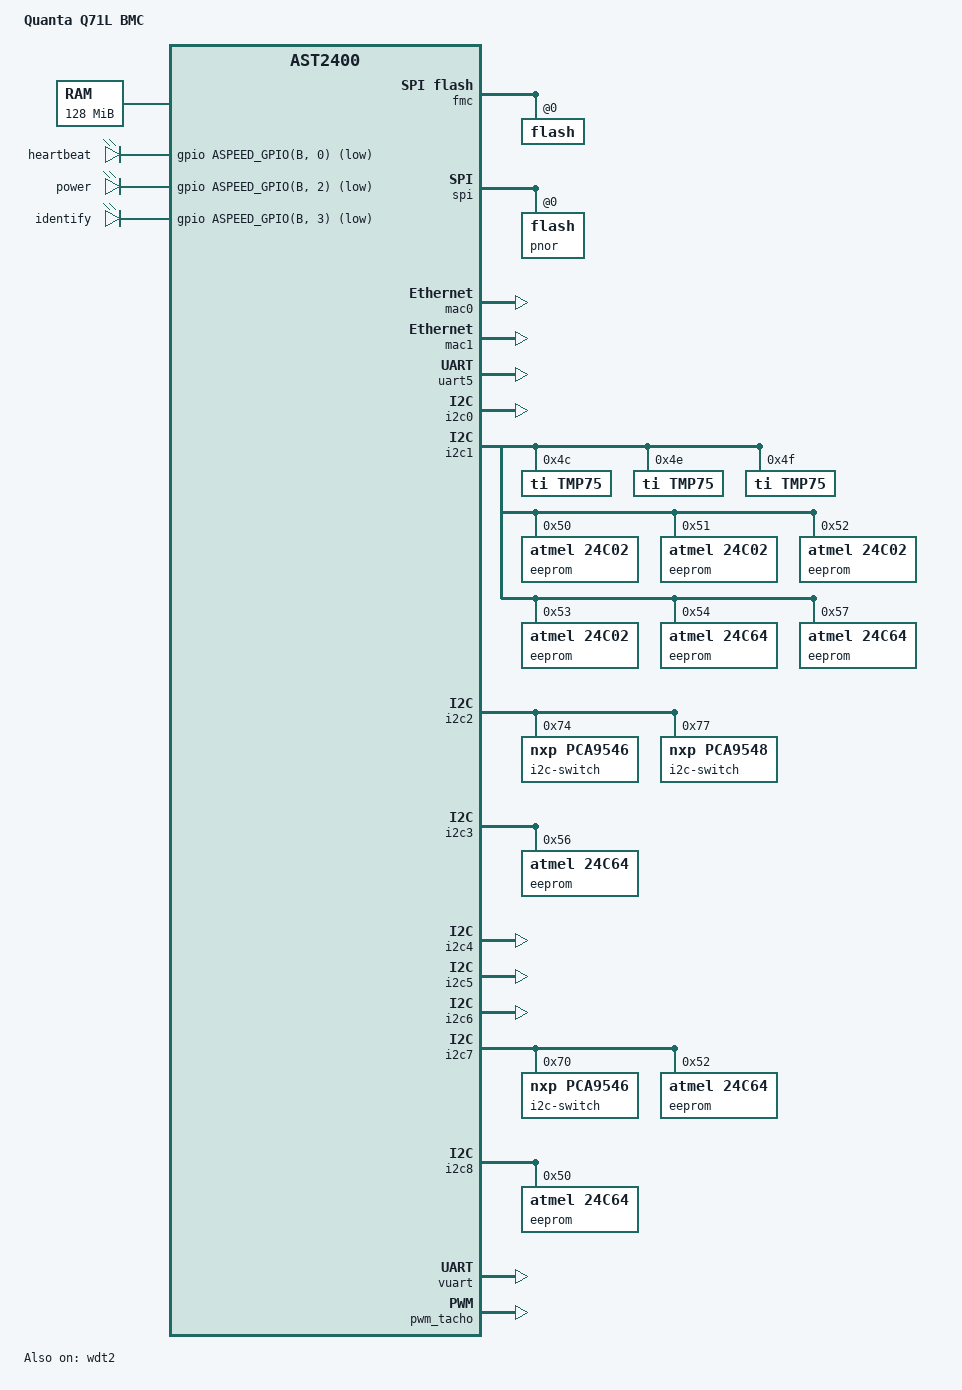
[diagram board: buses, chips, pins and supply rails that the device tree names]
// SPDX-License-Identifier: GPL-2.0
/dts-v1/;

#include "aspeed-g4.dtsi"

/ {
	model = "Quanta Q71L BMC";
	compatible = "quanta,q71l-bmc", "aspeed,ast2400";

	chosen {
		stdout-path = &uart5;
		bootargs = "console=ttyS4,115200 earlyprintk";
	};

	memory {
		reg = <0x40000000 0x8000000>;
	};

	reserved-memory {
		#address-cells = <1>;
		#size-cells = <1>;
		ranges;

		vga_memory: framebuffer@47800000 {
			no-map;
			reg = <0x47800000 0x00800000>; /* 8MB */
		};
	};

	leds {
		compatible = "gpio-leds";

		heartbeat {
			gpios = <&gpio ASPEED_GPIO(B, 0) GPIO_ACTIVE_LOW>;
		};

		power {
			gpios = <&gpio ASPEED_GPIO(B, 2) GPIO_ACTIVE_LOW>;
		};

		identify {
			gpios = <&gpio ASPEED_GPIO(B, 3) GPIO_ACTIVE_LOW>;
		};
	};

};

&fmc {
	status = "okay";
	flash@0 {
		status = "okay";
		m25p,fast-read;
#include "aspeed-bmc-opp-flash-layout.dtsi"
	};
};

&spi {
	status = "okay";
	pinctrl-names = "default";
	pinctrl-0 = <&pinctrl_spi1_default>;

	flash@0 {
		status = "okay";
		m25p,fast-read;
		label = "pnor";
	};
};

&pinctrl {
	pinctrl-names = "default";
	pinctrl-0 = <&pinctrl_vgahs_default &pinctrl_vgavs_default
			&pinctrl_ddcclk_default &pinctrl_ddcdat_default>;
};

&mac0 {
	status = "okay";

	use-ncsi;
	no-hw-checksum;
};

&mac1 {
	status = "okay";

	pinctrl-names = "default";
	pinctrl-0 = <&pinctrl_rgmii2_default &pinctrl_mdio2_default>;
};

&uart5 {
	status = "okay";
};

&i2c0 {
	status = "okay";
};

&i2c1 {
	status = "okay";

	/* temp2 inlet */
	tmp75@4c {
		compatible = "ti,tmp75";
		reg = <0x4c>;
	};

	/* temp3 */
	tmp75@4e {
		compatible = "ti,tmp75";
		reg = <0x4e>;
	};

	/* temp1 */
	tmp75@4f {
		compatible = "ti,tmp75";
		reg = <0x4f>;
	};

	/* Memory Riser 1/5 FRU */
	eeprom@50 {
		compatible = "atmel,24c02";
		reg = <0x50>;
	};

	/* Memory Riser 2/6 FRU */
	eeprom@51 {
		compatible = "atmel,24c02";
		reg = <0x51>;
	};

	/* Memory Riser 3/7 FRU */
	eeprom@52 {
		compatible = "atmel,24c02";
		reg = <0x52>;
	};

	/* Memory Riser 4/8 FRU */
	eeprom@53 {
		compatible = "atmel,24c02";
		reg = <0x53>;
	};

	/* Baseboard FRU */
	eeprom@54 {
		compatible = "atmel,24c64";
		reg = <0x54>;
	};

	/* FP FRU */
	eeprom@57 {
		compatible = "atmel,24c64";
		reg = <0x57>;
	};
};

&i2c2 {
	status = "okay";

	/* 0: PCIe Slot 2,
	 *    Slot 3,
	 *    Slot 6,
	 *    Slot 7
	 */
	i2c-switch@74 {
		compatible = "nxp,pca9546";
		reg = <0x74>;
		#address-cells = <1>;
		#size-cells = <0>;
	};

	/* 0: PCIe Slot 1,
	 *    Slot 4,
	 *    Slot 5,
	 *    Slot 8,
	 *    Slot 9,
	 *    Slot 10,
	 *    SSD 1,
	 *    SSD 2
	 */
	i2c-switch@77 {
		compatible = "nxp,pca9548";
		#address-cells = <1>;
		#size-cells = <0>;
		reg = <0x77>;
	};
};

&i2c3 {
	status = "okay";

	/* BIOS FRU */
	eeprom@56 {
		compatible = "atmel,24c64";
		reg = <0x56>;
	};
};

&i2c4 {
	status = "okay";
};

&i2c5 {
	status = "okay";
};

&i2c6 {
	status = "okay";
};

&i2c7 {
	status = "okay";

	/* 0: PSU4
	 *    PSU1
	 *    PSU3
	 *    PSU2
	 */
	i2c-switch@70 {
		compatible = "nxp,pca9546";
		reg = <0x70>;
		#address-cells = <1>;
		#size-cells = <0>;
	};

	/* PDB FRU */
	eeprom@52 {
		compatible = "atmel,24c64";
		reg = <0x52>;
	};
};

&i2c8 {
	status = "okay";

	/* BMC FRU */
	eeprom@50 {
		compatible = "atmel,24c64";
		reg = <0x50>;
	};
};

&vuart {
	status = "okay";
};

&wdt2 {
	status = "okay";
};

&pwm_tacho {
	status = "okay";

	pinctrl-names = "default";
	pinctrl-0 = <&pinctrl_pwm0_default
		&pinctrl_pwm1_default
		&pinctrl_pwm2_default
		&pinctrl_pwm3_default>;

	fan@0 {
		reg = <0x00>;
		aspeed,fan-tach-ch = /bits/ 8 <0x00>;
	};

	fan@1 {
		reg = <0x01>;
		aspeed,fan-tach-ch = /bits/ 8 <0x01>;
	};

	fan@2 {
		reg = <0x02>;
		aspeed,fan-tach-ch = /bits/ 8 <0x02>;
	};

	fan@3 {
		reg = <0x03>;
		aspeed,fan-tach-ch = /bits/ 8 <0x03>;
	};

	fan@4 {
		reg = <0x00>;
		aspeed,fan-tach-ch = /bits/ 8 <0x04>;
	};

	fan@5 {
		reg = <0x01>;
		aspeed,fan-tach-ch = /bits/ 8 <0x05>;
	};

	fan@6 {
		reg = <0x02>;
		aspeed,fan-tach-ch = /bits/ 8 <0x06>;
	};

	fan@7 {
		reg = <0x03>;
		aspeed,fan-tach-ch = /bits/ 8 <0x07>;
	};
};
